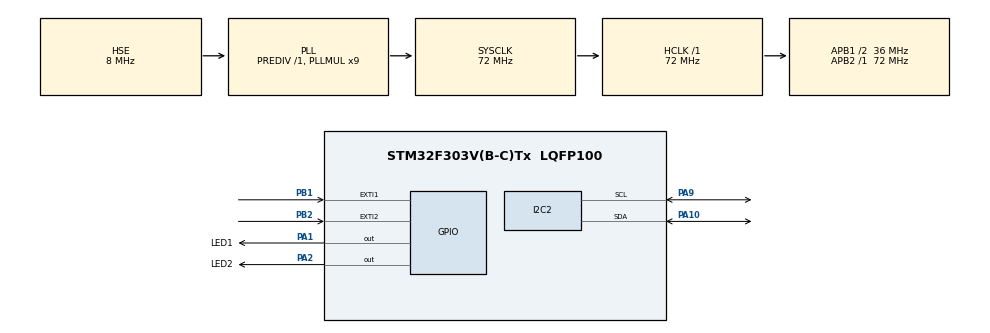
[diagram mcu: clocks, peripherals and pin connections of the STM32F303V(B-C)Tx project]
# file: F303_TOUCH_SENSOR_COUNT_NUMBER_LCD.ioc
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Mcu.Family=STM32F3
Mcu.Name=STM32F303V(B-C)Tx
Mcu.Package=LQFP100
NVIC.EXTI1_IRQn=true\:0\:0\:false\:false\:true\:true\:true\:true
NVIC.EXTI2_TSC_IRQn=true\:0\:0\:false\:false\:true\:true\:true\:true
NVIC.PriorityGroup=NVIC_PRIORITYGROUP_4
PA1.GPIO_Label=LED1
PA1.Signal=GPIO_Output
PA10.Mode=I2C
PA10.Signal=I2C2_SDA
PA13.Mode=Serial_Wire
PA13.Signal=SYS_JTMS-SWDIO
PA14.Mode=Serial_Wire
PA14.Signal=SYS_JTCK-SWCLK
PA2.GPIO_Label=LED2
PA2.Signal=GPIO_Output
PA9.Mode=I2C
PA9.Signal=I2C2_SCL
PB1.Signal=GPXTI1
PB2.Signal=GPXTI2
PF0-OSC_IN.Mode=HSE-External-Oscillator
PF0-OSC_IN.Signal=RCC_OSC_IN
PF1-OSC_OUT.Mode=HSE-External-Oscillator
PF1-OSC_OUT.Signal=RCC_OSC_OUT
ProjectManager.HeapSize=0x200
ProjectManager.StackSize=0x400
ProjectManager.TargetToolchain=STM32CubeIDE
RCC.AHBFreq_Value=72000000
RCC.APB1CLKDivider=RCC_HCLK_DIV2
RCC.APB1Freq_Value=36000000
RCC.APB1TimFreq_Value=72000000
RCC.APB2Freq_Value=72000000
RCC.APB2TimFreq_Value=72000000
RCC.CortexFreq_Value=72000000
RCC.HCLKFreq_Value=72000000
RCC.HSE_VALUE=8000000
RCC.HSI_VALUE=8000000
RCC.LSE_VALUE=32768
RCC.PLLMUL=RCC_PLL_MUL9
RCC.PLLSourceVirtual=RCC_PLLSOURCE_HSE
RCC.SYSCLKFreq_VALUE=72000000
RCC.SYSCLKSourceVirtual=RCC_SYSCLKSOURCE_PLLCLK
RCC.USBFreq_Value=72000000
board=custom

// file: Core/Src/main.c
/* USER CODE BEGIN Header */
/**
  ******************************************************************************
  * @file           : main.c
  * @brief          : Main program body
  ******************************************************************************
  * @attention
  *
  * Copyright (c) 2023 STMicroelectronics.
  * All rights reserved.
  *
  * This software is licensed under terms that can be found in the LICENSE file
  * in the root directory of this software component.
  * If no LICENSE file comes with this software, it is provided AS-IS.
  *
  ******************************************************************************
  */
/* USER CODE END Header */
#include "main.h"
#include "i2c.h"
#include "gpio.h"

/* USER CODE BEGIN Includes */

#include "i2c-lcd.h"

/* USER CODE END Includes */

/* USER CODE BEGIN PV */

int count = 0;

int buttonUpPressed = 0;
int buttonDownPressed = 0;
int buttonPushCounter = 0;

/* USER CODE END PV */

void SystemClock_Config(void);
/* USER CODE BEGIN PFP */

void EXTI1_IRQHandler(void);
void EXTI2_IRQHandler(void);
void HAL_GPIO_EXTI_Callback(uint16_t GPIO_Pin);
void delay(uint32_t ms);

/* USER CODE END PFP */

int main(void)
{

  /* MCU Configuration--------------------------------------------------------*/

  /* Reset of all peripherals, Initializes the Flash interface and the Systick. */
  HAL_Init();

  /* Configure the system clock */
  SystemClock_Config();

  /* Initialize all configured peripherals */
  MX_GPIO_Init();
  MX_I2C2_Init();
  /* USER CODE BEGIN 2 */

//	  lcd_init ();
//	  lcd_send_string ("ITC-01 Vs ITC-02");
//	  HAL_Delay(1000);
//	  lcd_put_cur(2, 2);

//  lcd_init();
//  lcd_send_string("Press Up/Down");
//  lcd_put_cur(2, 1);
//  lcd_put_cur(buttonPushCounter);

  /* Configure the LCD */
  lcd_init();
  lcd_send_string("Count: ");
  HAL_Delay(100);
  lcd_put_cur(0, 7);

  /* Configure the touch sensors as external interrupts */
  HAL_NVIC_SetPriority(EXTI1_IRQn, 0, 0);
  HAL_NVIC_EnableIRQ(EXTI1_IRQn);

  /* USER CODE END 2 */

  /* Infinite loop */
  /* USER CODE BEGIN WHILE */
  while (1)
  {
//	  lcd_send_string(count);
    /* USER CODE END WHILE */

    /* USER CODE BEGIN 3 */

	    if (buttonUpPressed)
	    {
	      buttonUpPressed = 0;
	      buttonPushCounter++;
	      lcd_clear();
	      lcd_put_cur(0, 0);
	      lcd_send_string("Count: ");
	      lcd_put_cur(0, 7);
	      lcd_send_data(buttonPushCounter + '0');
	      delay(200);
	    }

	    if (buttonDownPressed)
	    {
	      buttonDownPressed = 0;
	      buttonPushCounter--;
	      lcd_clear();
	      lcd_put_cur(0, 0);
	      lcd_send_string("Count: ");
	      lcd_put_cur(0, 7);
	      lcd_send_data(buttonPushCounter + '0' );
	      delay(200);
	    }

  }
  /* USER CODE END 3 */
}

void SystemClock_Config(void)
{
  RCC_OscInitTypeDef RCC_OscInitStruct = {0};
  RCC_ClkInitTypeDef RCC_ClkInitStruct = {0};
  RCC_PeriphCLKInitTypeDef PeriphClkInit = {0};

  /** Initializes the RCC Oscillators according to the specified parameters
  * in the RCC_OscInitTypeDef structure.
  */
  RCC_OscInitStruct.OscillatorType = RCC_OSCILLATORTYPE_HSI|RCC_OSCILLATORTYPE_HSE;
  RCC_OscInitStruct.HSEState = RCC_HSE_ON;
  RCC_OscInitStruct.HSEPredivValue = RCC_HSE_PREDIV_DIV1;
  RCC_OscInitStruct.HSIState = RCC_HSI_ON;
  RCC_OscInitStruct.HSICalibrationValue = RCC_HSICALIBRATION_DEFAULT;
  RCC_OscInitStruct.PLL.PLLState = RCC_PLL_ON;
  RCC_OscInitStruct.PLL.PLLSource = RCC_PLLSOURCE_HSE;
  RCC_OscInitStruct.PLL.PLLMUL = RCC_PLL_MUL9;
  if (HAL_RCC_OscConfig(&RCC_OscInitStruct) != HAL_OK)
  {
    Error_Handler();
  }

  /** Initializes the CPU, AHB and APB buses clocks
  */
  RCC_ClkInitStruct.ClockType = RCC_CLOCKTYPE_HCLK|RCC_CLOCKTYPE_SYSCLK
                              |RCC_CLOCKTYPE_PCLK1|RCC_CLOCKTYPE_PCLK2;
  RCC_ClkInitStruct.SYSCLKSource = RCC_SYSCLKSOURCE_PLLCLK;
  RCC_ClkInitStruct.AHBCLKDivider = RCC_SYSCLK_DIV1;
  RCC_ClkInitStruct.APB1CLKDivider = RCC_HCLK_DIV2;
  RCC_ClkInitStruct.APB2CLKDivider = RCC_HCLK_DIV1;

  if (HAL_RCC_ClockConfig(&RCC_ClkInitStruct, FLASH_LATENCY_2) != HAL_OK)
  {
    Error_Handler();
  }
  PeriphClkInit.PeriphClockSelection = RCC_PERIPHCLK_I2C2;
  PeriphClkInit.I2c2ClockSelection = RCC_I2C2CLKSOURCE_HSI;
  if (HAL_RCCEx_PeriphCLKConfig(&PeriphClkInit) != HAL_OK)
  {
    Error_Handler();
  }
}

/* USER CODE BEGIN 4 */

	/* TOUCH SENSOR EXIT INTERRUPT */

//		void HAL_GPIO_EXTI_Callback(uint16_t GPIO_Pin)
//		{
//		  if (GPIO_Pin == GPIO_PIN_2)
//		  {
//			  HAL_GPIO_TogglePin(GPIOA, GPIO_PIN_2);
//
//		  }
//		  else{
//
//		  }
//
//		}

///////////////////////////////////////////////////////////

//		void EXTI1_IRQHandler(void)
//		{
////		  HAL_GPIO_EXTI_IRQHandler(GPIO_PIN_1);
//		}

//		void EXTI2_IRQHandler(void)
//		{
//		  HAL_GPIO_EXTI_IRQHandler(GPIO_PIN_2);
//		}
//
//		void HAL_GPIO_EXTI_Callback(uint16_t GPIO_Pin)
//		{
//		  if (GPIO_Pin == GPIO_PIN_1)
//		  {
//		    buttonUpPressed = 1;
//		    HAL_GPIO_TogglePin(GPIOA, GPIO_PIN_1);
//		  }
//		  else if (GPIO_Pin == GPIO_PIN_2)
//		  {
//		    buttonDownPressed = 1;
//		    HAL_GPIO_TogglePin(GPIOA, GPIO_PIN_2);
//		  }
//		}
//
//		void delay(uint32_t ms)
//		{
//		  HAL_Delay(ms);
//		}

///////////////////////////////////////////////////////////

//	// EXTI1 interrupt handler
//	void EXTI1_IRQHandler(void)
//	{
//	  // Clear the EXTI line pending bit
//	  HAL_GPIO_EXTI_IRQHandler(GPIO_PIN_1);
//
//	  // Increment count
//	  count++;
//	  HAL_GPIO_TogglePin(GPIOA, GPIO_PIN_1);
//	}
//
//	// EXTI2 interrupt handler
//	void EXTI2_IRQHandler(void)
//	{
//	  // Clear the EXTI line pending bit
//	  HAL_GPIO_EXTI_IRQHandler(GPIO_PIN_2);
//
//	  // Decrement count (with a check to avoid negative values)
//	  if (count > 0)
//	  {
//		count--;
//		HAL_GPIO_TogglePin(GPIOA, GPIO_PIN_2);
//	  }
//	}

////////////////////////////////////////////////////////////////////

	void delay(uint32_t ms)
	{
	  HAL_Delay(ms);
	}

	void EXTI1_IRQHandler(void)
	{
	  HAL_GPIO_EXTI_IRQHandler(GPIO_PIN_1);
	}

	void EXTI2_IRQHandler(void)
	{
	  HAL_GPIO_EXTI_IRQHandler(GPIO_PIN_2);
	}

	void HAL_GPIO_EXTI_Callback(uint16_t GPIO_Pin)
	{
	  if (GPIO_Pin == GPIO_PIN_1)
	  {
		buttonUpPressed = 1;
		HAL_GPIO_TogglePin(GPIOA, GPIO_PIN_1);
	  }
	  else if (GPIO_Pin == GPIO_PIN_2)
	  {
		buttonDownPressed = 1;
		HAL_GPIO_TogglePin(GPIOA, GPIO_PIN_2);
	  }
	}

/* USER CODE END 4 */

void Error_Handler(void)
{
  __disable_irq();
  while (1)
  {
  }
}
